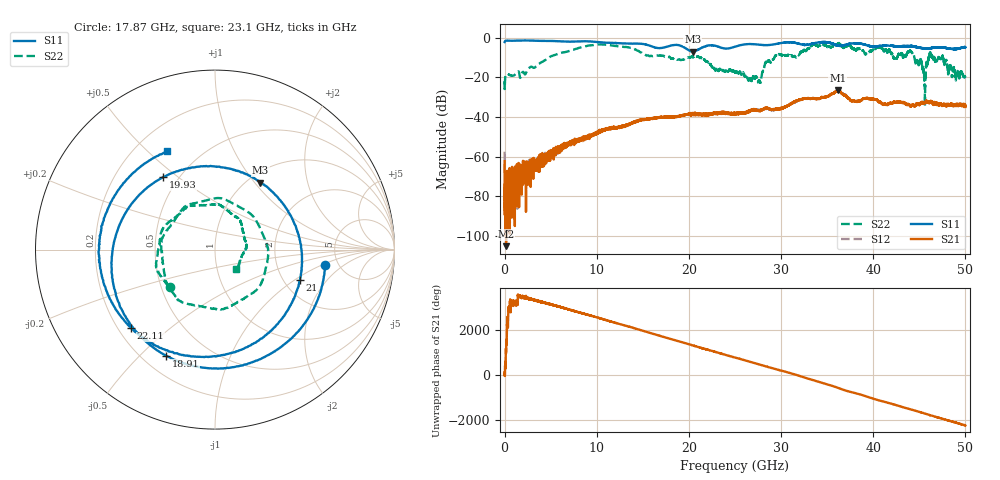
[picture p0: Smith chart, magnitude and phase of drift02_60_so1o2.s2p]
!Created with skrf (http://scikit-rf.org).
# Hz S RI R 50.0
!freq ReS11 ImS11 ReS21 ImS21 ReS12 ImS12 ReS22 ImS22
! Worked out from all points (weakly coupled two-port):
!   10001 points, 300 kHz to 50 GHz, reference 50 ohm
!   highest |S21| = -26.29 dB at 36.15 GHz (marker M1); lowest = -105.2 dB at 160.3 MHz (marker M2)
!   lowest |S11| = -6.9 dB at 20.43 GHz (marker M3), VSWR 2.64, Z = 57.1 + j53.5 ohm
!   |S11| at or under -10 dB: nowhere
!   |S22| runs from -34.4 to -2.6 dB; largest |S21 - S12| = 0.005
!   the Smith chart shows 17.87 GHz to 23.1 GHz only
!   S11 on the Smith chart (normalised r, x): 17.87 GHz: 3.91, -1.12; 18.91 GHz: 0.29, -0.60; 19.93 GHz: 0.41, +0.44; 21 GHz: 2.45, -1.09; 22.11 GHz: 0.25, -0.37; 23.1 GHz: 0.33, +0.58
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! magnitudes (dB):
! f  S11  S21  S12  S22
! 300 kHz  -2.1  -62.3  -57.5  -21.8
! 160.3 MHz  -1.5  -105.2  -79.5  -18.4
! 270.3 MHz  -1.4  -67.2  -84.8  -18.2
! 8.335 GHz  -1.7  -51.8  -50.5  -4.7
! 16.67 GHz  -5.2  -40.2  -40.3  -9.0
! 17.87 GHz  -4.2  -40.1  -40.0  -9.7
! 18.91 GHz  -3.7  -39.6  -39.6  -10.8
! 19.93 GHz  -6.1  -38.7  -38.5  -9.9
! 20.43 GHz  -6.9  -38.6  -38.3  -9.8
! 21 GHz  -6.0  -38.7  -38.5  -9.3
! 22.11 GHz  -3.9  -38.6  -39.1  -12.6
! 23.1 GHz  -4.3  -38.0  -38.1  -16.0
! 25 GHz  -4.5  -39.0  -38.1  -17.6
! 27.63 GHz  -3.5  -36.7  -36.9  -21.3
! 29.54 GHz  -3.0  -36.0  -36.1  -8.8
! 33.34 GHz  -3.0  -30.5  -30.6  -3.8
! 36.15 GHz  -3.9  -26.3  -26.9  -2.9
! 41.67 GHz  -3.9  -33.3  -33.4  -6.0
! 44.14 GHz  -4.2  -34.4  -34.4  -7.0
! 45.51 GHz  -5.4  -33.4  -33.1  -17.4
! 46.26 GHz  -5.2  -32.3  -32.3  -8.9
! 50 GHz  -4.7  -34.9  -34.0  -19.8
